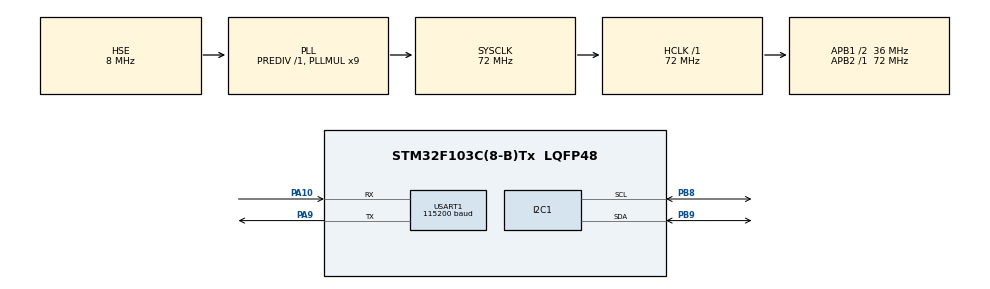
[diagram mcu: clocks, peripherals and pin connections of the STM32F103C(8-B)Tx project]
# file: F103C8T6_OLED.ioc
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Dma.I2C1_TX.2.Direction=DMA_MEMORY_TO_PERIPH
Dma.I2C1_TX.2.Instance=DMA1_Channel6
Dma.I2C1_TX.2.MemDataAlignment=DMA_MDATAALIGN_BYTE
Dma.I2C1_TX.2.MemInc=DMA_MINC_ENABLE
Dma.I2C1_TX.2.Mode=DMA_NORMAL
Dma.I2C1_TX.2.PeriphDataAlignment=DMA_PDATAALIGN_BYTE
Dma.I2C1_TX.2.PeriphInc=DMA_PINC_DISABLE
Dma.I2C1_TX.2.Priority=DMA_PRIORITY_LOW
Dma.Request0=USART1_RX
Dma.Request1=USART1_TX
Dma.Request2=I2C1_TX
Dma.USART1_RX.0.Direction=DMA_PERIPH_TO_MEMORY
Dma.USART1_RX.0.Instance=DMA1_Channel5
Dma.USART1_RX.0.MemDataAlignment=DMA_MDATAALIGN_BYTE
Dma.USART1_RX.0.MemInc=DMA_MINC_ENABLE
Dma.USART1_RX.0.Mode=DMA_NORMAL
Dma.USART1_RX.0.PeriphDataAlignment=DMA_PDATAALIGN_BYTE
Dma.USART1_RX.0.PeriphInc=DMA_PINC_DISABLE
Dma.USART1_RX.0.Priority=DMA_PRIORITY_LOW
Dma.USART1_TX.1.Direction=DMA_MEMORY_TO_PERIPH
Dma.USART1_TX.1.Instance=DMA1_Channel4
Dma.USART1_TX.1.MemDataAlignment=DMA_MDATAALIGN_BYTE
Dma.USART1_TX.1.MemInc=DMA_MINC_ENABLE
Dma.USART1_TX.1.Mode=DMA_NORMAL
Dma.USART1_TX.1.PeriphDataAlignment=DMA_PDATAALIGN_BYTE
Dma.USART1_TX.1.PeriphInc=DMA_PINC_DISABLE
Dma.USART1_TX.1.Priority=DMA_PRIORITY_LOW
I2C1.I2C_Mode=I2C_Fast
Mcu.Family=STM32F1
Mcu.Name=STM32F103C(8-B)Tx
Mcu.Package=LQFP48
NVIC.DMA1_Channel4_IRQn=true\:0\:0\:false\:false\:true\:false\:true\:true
NVIC.DMA1_Channel5_IRQn=true\:0\:0\:false\:false\:true\:false\:true\:true
NVIC.DMA1_Channel6_IRQn=true\:0\:0\:false\:false\:true\:false\:true\:true
NVIC.I2C1_ER_IRQn=true\:0\:0\:false\:false\:true\:true\:true\:true
NVIC.I2C1_EV_IRQn=true\:0\:0\:false\:false\:true\:true\:true\:true
NVIC.PriorityGroup=NVIC_PRIORITYGROUP_4
NVIC.TIM2_IRQn=true\:0\:0\:false\:false\:true\:true\:true\:true
NVIC.USART1_IRQn=true\:0\:0\:false\:false\:true\:true\:true\:true
PA10.Mode=Asynchronous
PA10.Signal=USART1_RX
PA13.Mode=Serial_Wire
PA13.Signal=SYS_JTMS-SWDIO
PA14.Mode=Serial_Wire
PA14.Signal=SYS_JTCK-SWCLK
PA9.Mode=Asynchronous
PA9.Signal=USART1_TX
PB8.Mode=I2C
PB8.Signal=I2C1_SCL
PB9.Mode=I2C
PB9.Signal=I2C1_SDA
PC14-OSC32_IN.Mode=LSE-External-Oscillator
PC14-OSC32_IN.Signal=RCC_OSC32_IN
PC15-OSC32_OUT.Mode=LSE-External-Oscillator
PC15-OSC32_OUT.Signal=RCC_OSC32_OUT
PD0-OSC_IN.Mode=HSE-External-Oscillator
PD0-OSC_IN.Signal=RCC_OSC_IN
PD1-OSC_OUT.Mode=HSE-External-Oscillator
PD1-OSC_OUT.Signal=RCC_OSC_OUT
ProjectManager.HeapSize=0x200
ProjectManager.StackSize=0x400
ProjectManager.TargetToolchain=STM32CubeIDE
RCC.AHBFreq_Value=72000000
RCC.APB1CLKDivider=RCC_HCLK_DIV2
RCC.APB1Freq_Value=36000000
RCC.APB1TimFreq_Value=72000000
RCC.APB2Freq_Value=72000000
RCC.APB2TimFreq_Value=72000000
RCC.HCLKFreq_Value=72000000
RCC.PLLMUL=RCC_PLL_MUL9
RCC.PLLSourceVirtual=RCC_PLLSOURCE_HSE
RCC.SYSCLKFreq_VALUE=72000000
RCC.SYSCLKSource=RCC_SYSCLKSOURCE_PLLCLK
RCC.USBFreq_Value=72000000
TIM2.Period=10000-1
TIM2.Prescaler=7200-1
USART1.BaudRate=115200
USART1.VirtualMode=VM_ASYNC
VP_TIM2_VS_ClockSourceINT.Mode=Internal
board=custom

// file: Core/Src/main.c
/* USER CODE BEGIN Header */
/**
  ******************************************************************************
  * @file           : main.c
  * @brief          : Main program body
  ******************************************************************************
  * @attention
  *
  * Copyright (c) 2025 STMicroelectronics.
  * All rights reserved.
  *
  * This software is licensed under terms that can be found in the LICENSE file
  * in the root directory of this software component.
  * If no LICENSE file comes with this software, it is provided AS-IS.
  *
  ******************************************************************************
  */
/* USER CODE END Header */
#include "main.h"
#include "dma.h"
#include "i2c.h"
#include "tim.h"
#include "usart.h"
#include "gpio.h"

/* USER CODE BEGIN Includes */
#include "string.h"
#include"../inc/retarget.h"		//printf函数重映射
#include "../../User/OLED/oled.h"

/* USER CODE END Includes */

void SystemClock_Config(void);

/* USER CODE BEGIN 0 */

uint16_t fps = 0, fps_max = 0;
char buffer[15] = {0};//用于格式化显示

//重定义'定时器周期回调'函数
void HAL_TIM_PeriodElapsedCallback(TIM_HandleTypeDef *htim){	//1S周期回调
	if(htim == &htim2){
		if(fps_max - fps < -1 || fps_max - fps > 1)
		{
			fps_max = fps;
		}
		fps = 0;

		//printf("Success!");
	}
}

extern DMA_HandleTypeDef hdma_usart1_rx;//声明外部句柄
char receivData[50] = {0};//存放接收内容(记得初始化)
uint8_t dataReady;//发送标志位

//重定义'接收完成回调'函数
//void HAL_UART_RxCpltCallback(UART_HandleTypeDef *huart){//'HAL_UART_Receive_IT'的回调函数
//	if(huart == &huart1){
//	  HAL_UART_Transmit_DMA(&huart1,  (uint8_t*)receivData,50);//开启中断发送，将本次接收的数据发回
//
//	  //do something
//
//	  HAL_UART_Receive_DMA(&huart1, (uint8_t*)receivData, 50);//开启下一次中断接收
//	}
//}

//重定义'串口事件回调'函数
void HAL_UARTEx_RxEventCallback(UART_HandleTypeDef *huart, uint16_t Size){
	if(huart == &huart1){
		dataReady = 1;//在主函数里处理发送
		//HAL_UART_Transmit_DMA(&huart1, (uint8_t*)receivData, Size);//这里将数据发回,所以发送接收到的长度

		//处理数据...

		HAL_UARTEx_ReceiveToIdle_DMA(&huart1, (uint8_t*)receivData, 50);
		__HAL_DMA_DISABLE_IT(&hdma_usart1_rx,DMA_IT_HT);//关闭DMA接收过半中断
	}

}
/* USER CODE END 0 */

int main(void)
{

  /* MCU Configuration--------------------------------------------------------*/

  /* Reset of all peripherals, Initializes the Flash interface and the Systick. */
  HAL_Init();

  /* Configure the system clock */
  SystemClock_Config();

  /* Initialize all configured peripherals */
  MX_GPIO_Init();
  MX_DMA_Init();
  MX_USART1_UART_Init();
  MX_I2C1_Init();
  MX_TIM2_Init();
  /* USER CODE BEGIN 2 */

  RetargetInit(&huart1);//将printf()函数映射到UART1串口上

  OLED_Init();

  //HAL_UART_Receive_DMA(&huart1, (uint8_t*)receivData, 5);//开启中断接收(DMA)
  HAL_UARTEx_ReceiveToIdle_DMA(&huart1, (uint8_t*)receivData, 50);//开启接收，末参数为最大长度
  __HAL_DMA_DISABLE_IT(&hdma_usart1_rx,DMA_IT_HT);//关闭DMA接收过半中断

  HAL_TIM_Base_Start_IT(&htim2);//开启定时
  /* USER CODE END 2 */

  /* Infinite loop */
  /* USER CODE BEGIN WHILE */
  while (1)
  {
	  if (dataReady) {
		  // 处理activeBuffer中的数据
		  HAL_UART_Transmit_DMA(&huart1, (uint8_t*)receivData, strlen(receivData));
		  dataReady = 0;
	  }

	//dosomething...

	//显示帧数
	OLED_NewFrame();
	sprintf(buffer,"%u %u", fps_max, fps);
	OLED_PrintASCIIString(0, 0, buffer, &afont16x8, OLED_COLOR_NORMAL);
	OLED_ShowFrame();
	fps++;//每刷新一帧++

    /* USER CODE END WHILE */

  }
}

void SystemClock_Config(void)
{
  RCC_OscInitTypeDef RCC_OscInitStruct = {0};
  RCC_ClkInitTypeDef RCC_ClkInitStruct = {0};

  /** Initializes the RCC Oscillators according to the specified parameters
  * in the RCC_OscInitTypeDef structure.
  */
  RCC_OscInitStruct.OscillatorType = RCC_OSCILLATORTYPE_HSE;
  RCC_OscInitStruct.HSEState = RCC_HSE_ON;
  RCC_OscInitStruct.HSEPredivValue = RCC_HSE_PREDIV_DIV1;
  RCC_OscInitStruct.HSIState = RCC_HSI_ON;
  RCC_OscInitStruct.PLL.PLLState = RCC_PLL_ON;
  RCC_OscInitStruct.PLL.PLLSource = RCC_PLLSOURCE_HSE;
  RCC_OscInitStruct.PLL.PLLMUL = RCC_PLL_MUL9;
  if (HAL_RCC_OscConfig(&RCC_OscInitStruct) != HAL_OK)
  {
    Error_Handler();
  }

  /** Initializes the CPU, AHB and APB buses clocks
  */
  RCC_ClkInitStruct.ClockType = RCC_CLOCKTYPE_HCLK|RCC_CLOCKTYPE_SYSCLK
                              |RCC_CLOCKTYPE_PCLK1|RCC_CLOCKTYPE_PCLK2;
  RCC_ClkInitStruct.SYSCLKSource = RCC_SYSCLKSOURCE_PLLCLK;
  RCC_ClkInitStruct.AHBCLKDivider = RCC_SYSCLK_DIV1;
  RCC_ClkInitStruct.APB1CLKDivider = RCC_HCLK_DIV2;
  RCC_ClkInitStruct.APB2CLKDivider = RCC_HCLK_DIV1;

  if (HAL_RCC_ClockConfig(&RCC_ClkInitStruct, FLASH_LATENCY_2) != HAL_OK)
  {
    Error_Handler();
  }
}

void Error_Handler(void)
{
  __disable_irq();
  while (1)
  {
  }
}
